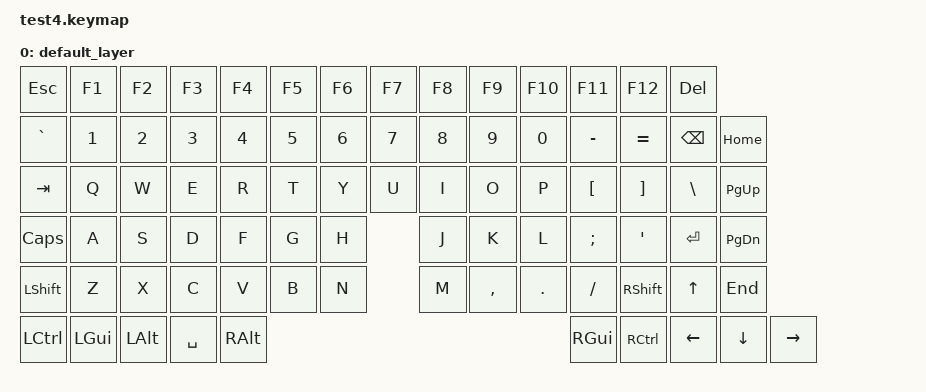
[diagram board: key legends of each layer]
// This file was generated from a template. Edit it to match your keyboard.
// See https://zmk.dev/docs/development/hardware-integration/new-shield for more instructions.

#include <behaviors.dtsi>
#include <dt-bindings/zmk/keys.h>

/ {
    // Define a default keymap here.
    // See https://zmk.dev/docs/development/hardware-integration/new-shield#default-keymap.
    keymap {
        compatible = "zmk,keymap";
        // ------------------------------------------------------------------------------------------------
            // | ESC | F1  | F2  | F3  | F4  | F5  | F6  | F7  | F9  | F9  | F10 | F11 | F12 |   DELETE   |     |
            // |GRAVE|  1  |  2  |  3  |  4  |  5  |  6  |  7  |  8  |  9  |  0  |  -  |  =  |   BSPC     | HOME|
            // | TAB   |  Q  |  W  |  E  |  R  |  T  |  Y  |  U  |  I  |  O  |  P  |  [  |  ]  |   \      | PGUP|
            // | CAPS   |  A  |  S  |  D  |  F  |  G  |  H  |  J  |  K  |  L  |  ;  |  '  |    ENTER      | PGDN|
            // |  SHIFT   |  Z  |  X  |  C  |  V  |  B  |  N  |  M  |  ,  |  .  |  /  |   SHIFT     | UP  | END |
            // |  CTL  |  WIN  |  ALT  |             SPACE                | ALT |  WIN  |RCTRL| LEFT| DOWN|RIGHT|
            // ------------------------------------------------------------------------------------------------


        default_layer {
            bindings = <
                &kp ESC   &kp F1 &kp F2 &kp F3 &kp F4 &kp F5 &kp F6 &kp F7 &kp F8 &kp F9 &kp F10 &kp F11 &kp F12 &kp DELETE
                &kp GRAVE &kp N1 &kp N2 &kp N3 &kp N4 &kp N5 &kp N6 &kp N7 &kp N8 &kp N9 &kp N0 &kp MINUS &kp EQUAL &kp BSPC &kp HOME
                &kp TAB   &kp Q  &kp W  &kp E  &kp R  &kp T  &kp Y  &kp U  &kp I &kp  O &kp P  &kp LBKT &kp RBKT &kp BSLH  &kp PG_UP
                &kp CLCK  &kp A  &kp S  &kp D  &kp F  &kp G  &kp H  &kp J  &kp  K &kp  L &kp SEMI &kp SQT          &kp RET   &kp PG_DN
                &kp LSHFT &kp Z  &kp X  &kp C  &kp V  &kp B  &kp N  &kp M  &kp COMMA &kp DOT &kp FSLH &kp RSHFT       &kp UP &kp END
                &kp LCTRL &kp LGUI &kp LALT            &kp SPACE                   &kp RALT  &kp RGUI &kp RCTRL &kp LEFT &kp DOWN &kp RIGHT
            >;
        };
    };
};
